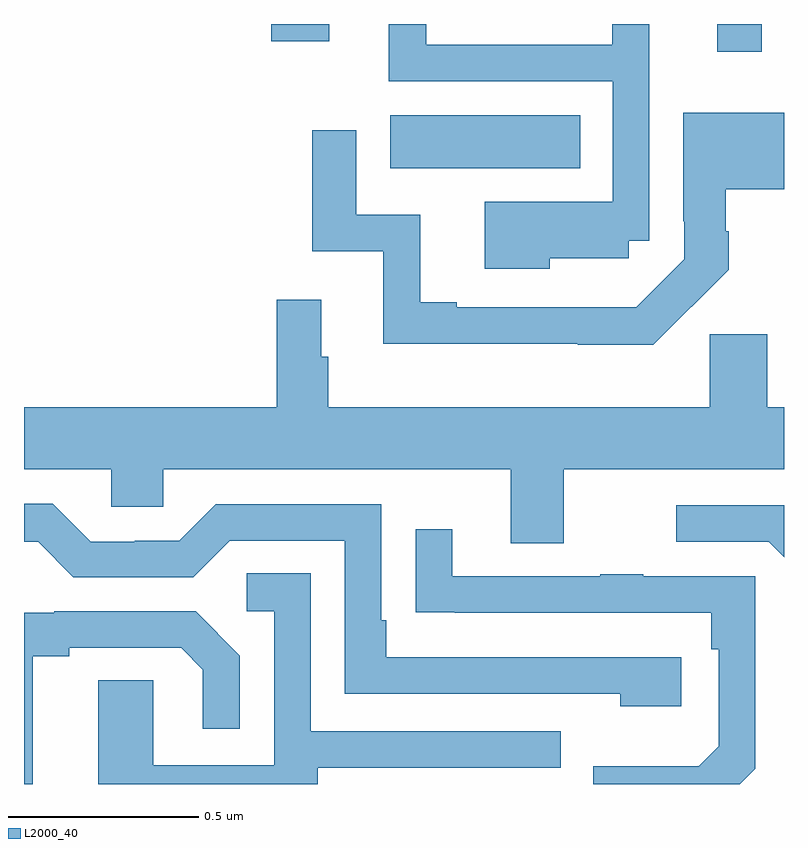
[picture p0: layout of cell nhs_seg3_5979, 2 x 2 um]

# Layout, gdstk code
import gdstk
lib = gdstk.Library(unit=1e-6, precision=1e-09)
def R(c, l, rs):  # rectangles x0, y0, x1, y1
    for r in rs: c.add(gdstk.rectangle(r[:2], r[2:], *l))
def P(c, l, *ps):  # polygons
    for p in ps: c.add(gdstk.Polygon(p, *l))
L2000_40 = (2000, 40)

nhs_seg3_5979 = lib.new_cell('nhs_seg3_5979')
R(nhs_seg3_5979, L2000_40, [(185.964,723.02,186.464,723.16), (186.824,723.327,186.941,723.4), (185.651,723.354,185.803,723.4)])
P(nhs_seg3_5979, L2000_40, [(186.384,722.783),(186.591,722.783),(186.591,722.829),(186.645,722.829),(186.645,723.4),(186.548,723.4),(186.548,723.345),(186.058,723.345),(186.058,723.4),(185.96,723.4),(185.96,723.249),(186.549,723.249),(186.549,722.932),(186.212,722.932),(186.212,722.756),(186.384,722.756)],
  [(186.854,722.753),(186.854,722.855),(186.847,722.855),(186.847,722.965),(187,722.965),(187,723.166),(186.735,723.166),(186.735,722.881),(186.738,722.881),(186.738,722.781),(186.611,722.654),(186.509,722.654),(186.509,722.655),(186.139,722.655),(186.139,722.668),(186.043,722.668),(186.043,722.898),(185.874,722.898),(185.874,723.121),(185.758,723.121),(185.758,722.802),(185.945,722.802),(185.945,722.558),(186.457,722.558),(186.457,722.556),(186.656,722.556)],
  [(186.421,722.228),(187,722.228),(187,722.392),(186.956,722.392),(186.956,722.583),(186.805,722.583),(186.805,722.392),(185.801,722.392),(185.801,722.525),(185.782,722.525),(185.782,722.674),(185.665,722.674),(185.665,722.392),(185,722.392),(185,722.228),(185.229,722.228),(185.229,722.13),(185.367,722.13),(185.367,722.228),(186.281,722.228),(186.281,722.034),(186.421,722.034)],
  [(186.73,721.734),(185.953,721.734),(185.953,721.831),(185.94,721.831),(185.94,722.136),(185.505,722.136),(185.409,722.04),(185.291,722.04),(185.291,722.037),(185.175,722.037),(185.075,722.137),(185,722.137),(185,722.037),(185.037,722.037),(185.13,721.944),(185.445,721.944),(185.541,722.04),(185.844,722.04),(185.844,721.638),(186.569,721.638),(186.569,721.604),(186.73,721.604)],
  [(187,722.133),(186.717,722.133),(186.717,722.037),(186.96,722.037),(187,721.997)],
  [(186.924,721.44),(186.924,721.947),(186.629,721.947),(186.629,721.952),(186.517,721.952),(186.517,721.947),(186.127,721.947),(186.127,722.071),(186.031,722.071),(186.031,721.852),(186.133,721.852),(186.133,721.851),(186.808,721.851),(186.808,721.754),(186.828,721.754),(186.828,721.5),(186.775,721.447),(186.498,721.447),(186.498,721.4),(186.884,721.4)],
  [(185.773,721.443),(186.413,721.443),(186.413,721.539),(185.754,721.539),(185.754,721.955),(185.586,721.955),(185.586,721.854),(185.658,721.854),(185.658,721.449),(185.34,721.449),(185.34,721.673),(185.195,721.673),(185.195,721.4),(185.773,721.4)],
  [(185.023,721.736),(185.119,721.736),(185.119,721.758),(185.414,721.758),(185.471,721.701),(185.471,721.545),(185.568,721.545),(185.568,721.738),(185.452,721.854),(185.08,721.854),(185.08,721.851),(185,721.851),(185,721.4),(185.023,721.4)])

lib.write_gds('nhs_seg3_5979.gds')
